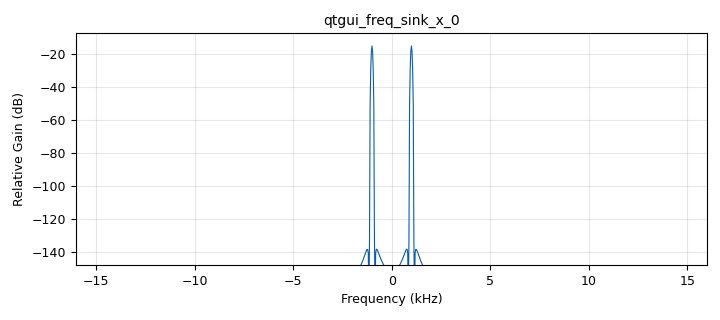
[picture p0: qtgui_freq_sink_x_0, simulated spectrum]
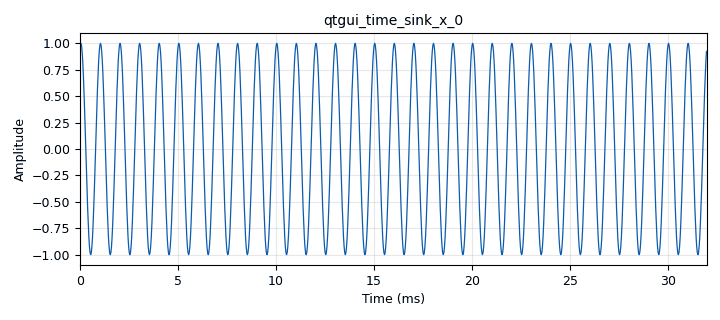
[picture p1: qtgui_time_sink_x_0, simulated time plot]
options:
  parameters:
    generate_options: qt_gui
    id: top_block
    output_language: python
  states: {}

blocks:
- name: delay
  id: variable_qtgui_range
  parameters:
    label: Delay
    start: '-50'
    step: '1'
    stop: '50'
    value: '1'
  states: {}
- name: f0
  id: variable_qtgui_range
  parameters:
    gui_hint: (1,0,1,1)
    start: '-2000'
    step: '1'
    stop: '2000'
    value: '1000'
  states: {}
- name: offset
  id: variable_qtgui_range
  parameters:
    gui_hint: (0, 0, 1, 1)
    start: '-1'
    step: '.01'
    stop: '1'
    value: '0'
  states: {}
- name: samp_rate
  id: variable
  parameters:
    value: '32000'
  states: {}
- name: waveform
  id: variable_qtgui_chooser
  parameters:
    gui_hint: (0, 1, 2, 1)
    label: Waveform Select
    label0: Cosine
    label1: Square
    label2: Triangle
    label3: Sawtooth
    num_opts: '4'
    option0: '102'
    option1: '103'
    option2: '104'
    option3: '105'
    type: int
    value: '102'
    widget: radio_buttons
  states: {}
- name: analog_sig_source_x_0
  id: analog_sig_source_x
  parameters:
    amp: '1'
    freq: f0
    offset: offset
    phase: '0'
    samp_rate: samp_rate
    type: float
    waveform: waveform
  states: {}
- name: blocks_delay_0
  id: blocks_delay
  parameters:
    delay: int(delay)
    type: float
  states: {}
- name: blocks_throttle_0
  id: blocks_throttle
  parameters:
    samples_per_second: samp_rate
    type: float
  states: {}
- name: qtgui_freq_sink_x_0
  id: qtgui_freq_sink_x
  parameters:
    autoscale: 'True'
    bw: samp_rate
    fc: '0'
    fftsize: '1024'
    type: float
  states: {}
- name: qtgui_time_sink_x_0
  id: qtgui_time_sink_x
  parameters:
    autoscale: 'True'
    size: '1024'
    srate: samp_rate
    type: float
  states: {}

connections:
- [analog_sig_source_x_0, '0', blocks_throttle_0, '0']
- [blocks_delay_0, '0', qtgui_freq_sink_x_0, '0']
- [blocks_delay_0, '0', qtgui_time_sink_x_0, '0']
- [blocks_throttle_0, '0', blocks_delay_0, '0']

metadata:
  file_format: 1
